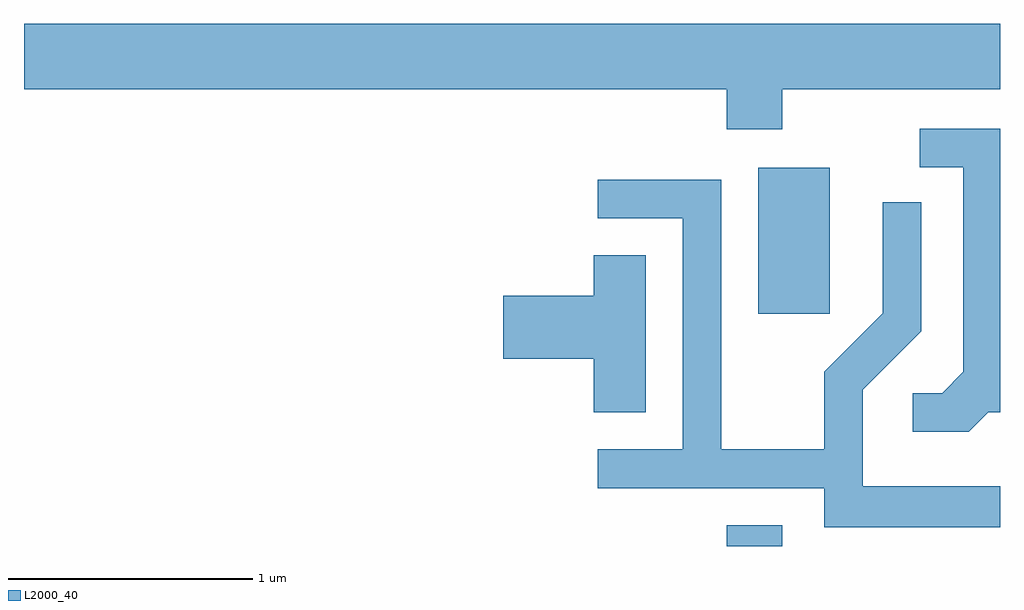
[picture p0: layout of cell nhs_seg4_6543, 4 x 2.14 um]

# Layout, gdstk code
import gdstk
lib = gdstk.Library(unit=1e-6, precision=1e-09)
def R(c, l, rs):  # rectangles x0, y0, x1, y1
    for r in rs: c.add(gdstk.rectangle(r[:2], r[2:], *l))
def P(c, l, *ps):  # polygons
    for p in ps: c.add(gdstk.Polygon(p, *l))
L2000_40 = (2000, 40)

nhs_seg4_6543 = lib.new_cell('nhs_seg4_6543')
R(nhs_seg4_6543, L2000_40, [(380.491,1283.982,380.719,1284.069), (380.621,1284.936,380.914,1285.534)])
P(nhs_seg4_6543, L2000_40, [(380.719,1285.856),(381.611,1285.856),(381.611,1286.124),(377.611,1286.124),(377.611,1285.856),(380.491,1285.856),(380.491,1285.691),(380.719,1285.691)],
  [(381.562,1284.531),(381.611,1284.531),(381.611,1285.694),(381.283,1285.694),(381.283,1285.536),(381.461,1285.536),(381.461,1284.697),(381.374,1284.609),(381.253,1284.609),(381.253,1284.451),(381.482,1284.451)],
  [(381.611,1284.229),(381.049,1284.229),(381.049,1284.624),(381.289,1284.864),(381.289,1285.393),(381.131,1285.393),(381.131,1284.937),(380.891,1284.697),(380.891,1284.379),(380.469,1284.379),(380.469,1285.484),(379.963,1285.484),(379.963,1285.326),(380.311,1285.326),(380.311,1284.379),(379.963,1284.379),(379.963,1284.221),(380.891,1284.221),(380.891,1284.061),(381.611,1284.061)],
  [(380.159,1285.174),(379.946,1285.174),(379.946,1285.009),(379.576,1285.009),(379.576,1284.751),(379.946,1284.751),(379.946,1284.531),(380.159,1284.531)])

lib.write_gds('nhs_seg4_6543.gds')
